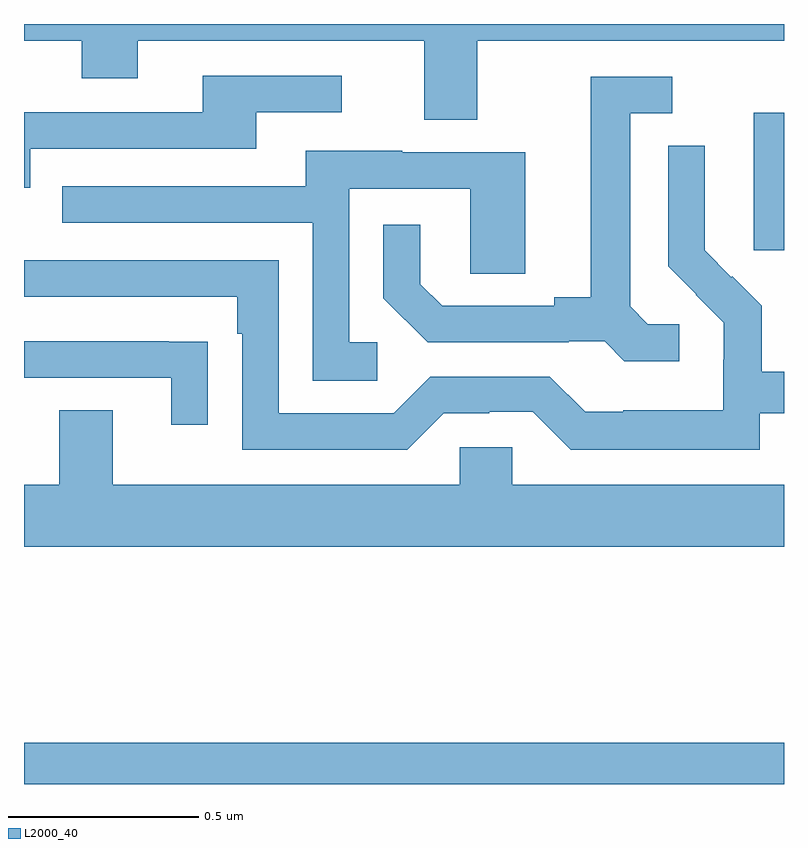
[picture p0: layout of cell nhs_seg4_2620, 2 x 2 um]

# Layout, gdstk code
import gdstk
lib = gdstk.Library(unit=1e-6, precision=1e-09)
def R(c, l, rs):  # rectangles x0, y0, x1, y1
    for r in rs: c.add(gdstk.rectangle(r[:2], r[2:], *l))
def P(c, l, *ps):  # polygons
    for p in ps: c.add(gdstk.Polygon(p, *l))
L2000_40 = (2000, 40)

nhs_seg4_2620 = lib.new_cell('nhs_seg4_2620')
R(nhs_seg4_2620, L2000_40, [(143,758.9,145,759.008), (144.92,760.305,145,760.666)])
P(nhs_seg4_2620, L2000_40, [(144.193,760.856),(145,760.856),(145,760.9),(143,760.9),(143,760.856),(143.152,760.856),(143.152,760.757),(143.299,760.757),(143.299,760.856),(144.053,760.856),(144.053,760.648),(144.193,760.648)],
  [(143.016,760.572),(143.611,760.572),(143.611,760.668),(143.836,760.668),(143.836,760.764),(143.471,760.764),(143.471,760.668),(143,760.668),(143,760.469),(143.016,760.469)],
  [(144.724,760.11),(144.642,760.11),(144.595,760.157),(144.595,760.665),(144.706,760.665),(144.706,760.761),(144.491,760.761),(144.491,760.181),(144.395,760.181),(144.395,760.158),(144.1,760.158),(144.043,760.215),(144.043,760.372),(143.946,760.372),(143.946,760.178),(144.062,760.062),(144.434,760.062),(144.434,760.065),(144.528,760.065),(144.58,760.013),(144.724,760.013)],
  [(144.936,759.876),(145,759.876),(145,759.985),(144.941,759.985),(144.941,760.159),(144.864,760.236),(144.861,760.233),(144.791,760.304),(144.791,760.426),(144.792,760.426),(144.792,760.58),(144.696,760.58),(144.696,760.262),(144.769,760.189),(144.768,760.188),(144.842,760.114),(144.842,760.017),(144.84,760.017),(144.84,759.883),(144.577,759.883),(144.577,759.879),(144.477,759.879),(144.384,759.972),(144.069,759.972),(143.973,759.876),(143.67,759.876),(143.67,760.278),(143,760.278),(143,760.182),(143.561,760.182),(143.561,760.085),(143.574,760.085),(143.574,759.78),(144.009,759.78),(144.105,759.876),(144.224,759.876),(144.224,759.879),(144.339,759.879),(144.439,759.779),(144.936,759.779)],
  [(143.929,760.062),(143.856,760.062),(143.856,760.467),(144.174,760.467),(144.174,760.243),(144.319,760.243),(144.319,760.563),(143.995,760.563),(143.995,760.567),(143.741,760.567),(143.741,760.473),(143.101,760.473),(143.101,760.377),(143.76,760.377),(143.76,759.961),(143.929,759.961)],
  [(143.483,760.064),(143.381,760.064),(143.381,760.065),(143,760.065),(143,759.969),(143.387,759.969),(143.387,759.846),(143.483,759.846)],
  [(145,759.688),(144.285,759.688),(144.285,759.786),(144.147,759.786),(144.147,759.688),(143.233,759.688),(143.233,759.883),(143.093,759.883),(143.093,759.688),(143,759.688),(143,759.524),(145,759.524)])

lib.write_gds('nhs_seg4_2620.gds')
